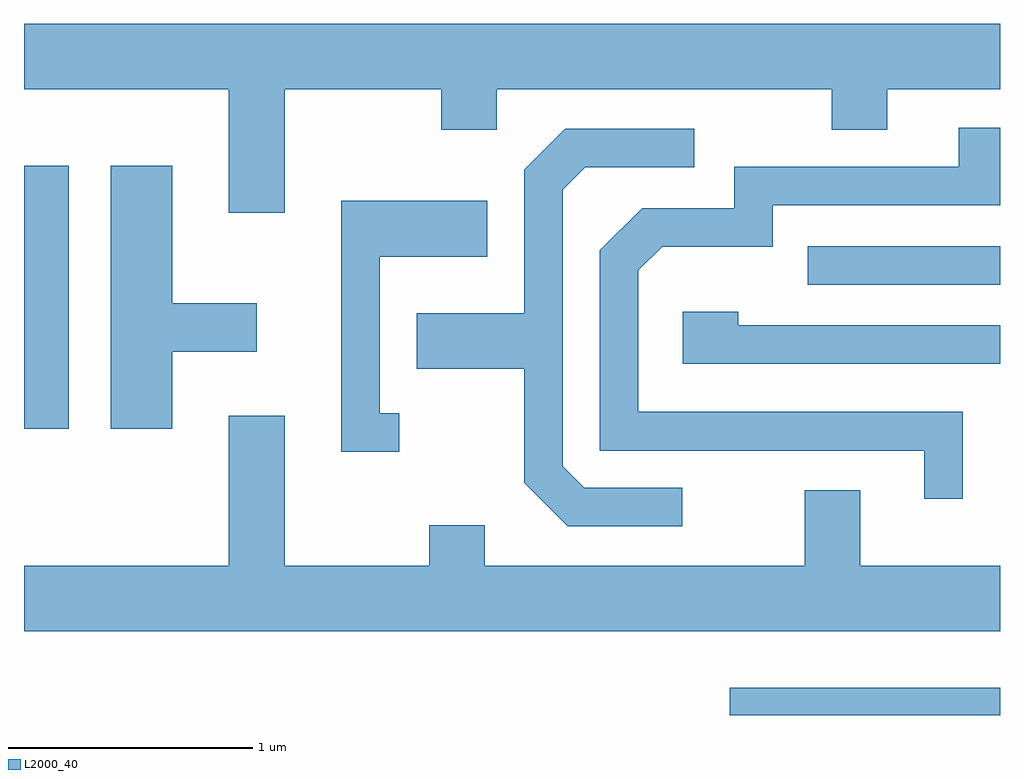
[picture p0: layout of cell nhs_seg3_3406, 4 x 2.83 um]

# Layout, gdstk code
import gdstk
lib = gdstk.Library(unit=1e-6, precision=1e-09)
def R(c, l, rs):  # rectangles x0, y0, x1, y1
    for r in rs: c.add(gdstk.rectangle(r[:2], r[2:], *l))
def P(c, l, *ps):  # polygons
    for p in ps: c.add(gdstk.Polygon(p, *l))
L2000_40 = (2000, 40)

nhs_seg3_3406 = lib.new_cell('nhs_seg3_3406')
R(nhs_seg3_3406, L2000_40, [(288.503,1127.892,289.611,1128.004), (285.611,1129.066,285.794,1130.144), (288.823,1129.656,289.611,1129.814)])
P(nhs_seg3_3406, L2000_40, [(285.611,1130.456),(286.451,1130.456),(286.451,1129.951),(286.679,1129.951),(286.679,1130.456),(287.321,1130.456),(287.321,1130.291),(287.549,1130.291),(287.549,1130.456),(288.921,1130.456),(288.921,1130.291),(289.149,1130.291),(289.149,1130.456),(289.611,1130.456),(289.611,1130.724),(285.611,1130.724)],
  [(289.459,1129.134),(288.129,1129.134),(288.129,1129.714),(288.227,1129.811),(288.679,1129.811),(288.679,1129.981),(289.611,1129.981),(289.611,1130.299),(289.441,1130.299),(289.441,1130.139),(288.521,1130.139),(288.521,1129.969),(288.144,1129.969),(287.971,1129.797),(287.971,1128.976),(289.301,1128.976),(289.301,1128.778),(289.459,1128.778)],
  [(288.308,1128.824),(287.907,1128.824),(287.819,1128.912),(287.819,1130.044),(287.912,1130.136),(288.358,1130.136),(288.358,1130.294),(287.829,1130.294),(287.661,1130.127),(287.661,1129.539),(287.221,1129.539),(287.221,1129.311),(287.661,1129.311),(287.661,1128.844),(287.839,1128.666),(288.308,1128.666)],
  [(286.219,1129.381),(286.564,1129.381),(286.564,1129.579),(286.219,1129.579),(286.219,1130.144),(285.966,1130.144),(285.966,1129.066),(286.219,1129.066)],
  [(287.148,1129.129),(287.069,1129.129),(287.069,1129.771),(287.509,1129.771),(287.509,1129.999),(286.911,1129.999),(286.911,1128.971),(287.148,1128.971)],
  [(289.611,1129.489),(288.539,1129.489),(288.539,1129.544),(288.311,1129.544),(288.311,1129.331),(289.611,1129.331)],
  [(286.451,1129.119),(286.451,1128.504),(285.611,1128.504),(285.611,1128.236),(289.611,1128.236),(289.611,1128.504),(289.039,1128.504),(289.039,1128.814),(288.811,1128.814),(288.811,1128.504),(287.499,1128.504),(287.499,1128.669),(287.271,1128.669),(287.271,1128.504),(286.679,1128.504),(286.679,1129.119)])

lib.write_gds('nhs_seg3_3406.gds')
